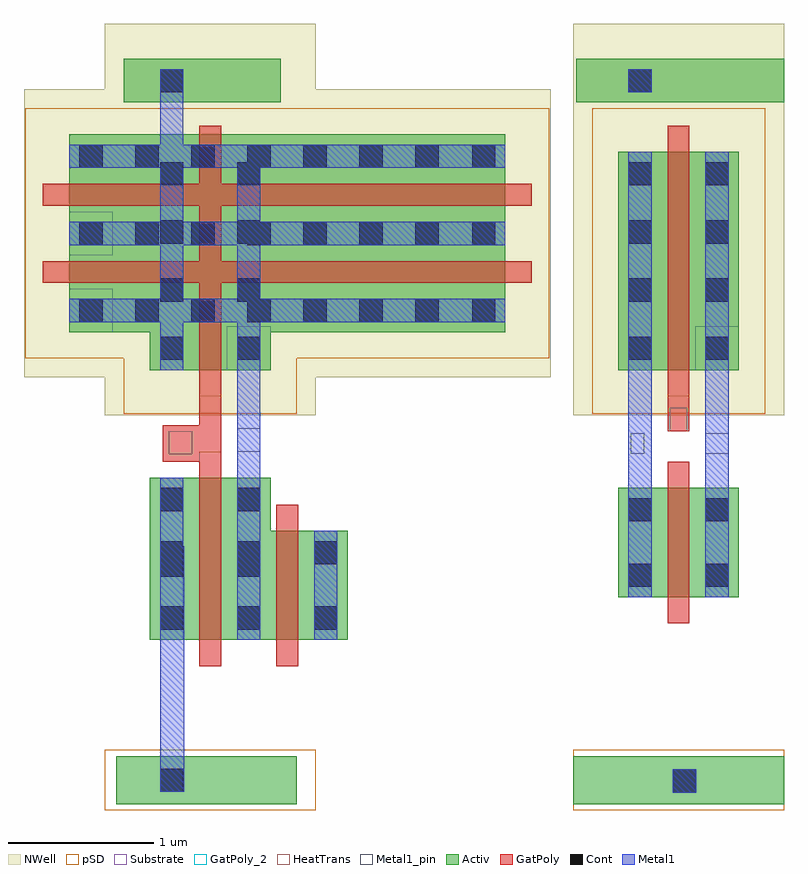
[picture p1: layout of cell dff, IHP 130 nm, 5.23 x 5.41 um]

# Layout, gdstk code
from math import pi, radians
import gdstk
lib = gdstk.Library(unit=1e-6, precision=5e-09)
def R(c, l, rs):  # rectangles x0, y0, x1, y1
    for r in rs: c.add(gdstk.rectangle(r[:2], r[2:], *l))
def A(c, l, x, y, w, h, nx, ny, dx, dy):  # array of equal rectangles
    R(c, l, [(x+i*dx, y+j*dy, x+i*dx+w, y+j*dy+h) for i in range(nx) for j in range(ny)])
Activ = (1, 0)
GatPoly = (5, 0)
GatPoly_2 = (5, 2)
Cont = (6, 0)
Metal1 = (8, 0)
Metal1_pin = (8, 2)
pSD = (14, 0)
NWell = (31, 0)
Substrate = (40, 0)
HeatTrans = (51, 0)

pmos_5_1 = lib.new_cell('pmos$5$1')
R(pmos_5_1, Activ, [(0,0,0.3,0.3), (0,0,0.83,3), (0.53,0,0.83,0.3)])
R(pmos_5_1, GatPoly, [(0.34,-0.18,0.49,3.18), (0.34,-0.18,0.49,3.18)])
A(pmos_5_1, Cont, 0.07, 0.07, 0.16, 0.16, 1, 7, 0, 0.385)
A(pmos_5_1, Cont, 0.6, 0.07, 0.16, 0.16, 1, 7, 0, 0.385)
R(pmos_5_1, Cont, [(0.07,2.77,0.23,2.93), (0.6,2.77,0.76,2.93)])
R(pmos_5_1, Metal1, [(0.07,0,0.23,3), (0.07,0,0.23,3), (0.6,0,0.76,3), (0.6,0,0.76,3)])
R(pmos_5_1, pSD, [(-0.18,-0.3,1.01,3.3)])
R(pmos_5_1, NWell, [(-0.31,-0.31,1.14,3.31)])
R(pmos_5_1, Substrate, [(0.53,0,0.83,0.3)])
R(pmos_5_1, HeatTrans, [(0.34,-0.18,0.49,3.18)])
pmos_5_1.add(gdstk.Label('pmos', (0.415,1.5), layer=63, texttype=0))
pmos_5_1.add(gdstk.Label('pmos', (0.415,1.5), layer=51, texttype=0))

nmos_5_2 = lib.new_cell('nmos$5$2')
R(nmos_5_2, Activ, [(0,0,0.3,0.3), (0,0,0.83,0.75), (0.53,0,0.83,0.3)])
R(nmos_5_2, GatPoly, [(0.34,-0.18,0.49,0.93)])
R(nmos_5_2, GatPoly_2, [(0.34,-0.18,0.49,0.93)])
R(nmos_5_2, Cont, [(0.07,0.07,0.23,0.23), (0.6,0.07,0.76,0.23), (0.07,0.52,0.23,0.68), (0.6,0.52,0.76,0.68)])
R(nmos_5_2, Metal1, [(0.07,0,0.23,0.75), (0.6,0,0.76,0.75)])
R(nmos_5_2, Metal1_pin, [(0.07,0,0.23,0.75), (0.6,0,0.76,0.75)])
R(nmos_5_2, HeatTrans, [(0.34,-0.18,0.49,0.93)])
nmos_5_2.add(gdstk.Label('nmos', (0.415,0.375), layer=63, texttype=0))
nmos_5_2.add(gdstk.Label('nmos', (0.415,0.375), layer=51, texttype=0))

nmos_5_1 = lib.new_cell('nmos$5$1')
R(nmos_5_1, Activ, [(0,0,0.3,0.3), (0,0,0.83,0.75), (0.53,0,0.83,0.3)])
R(nmos_5_1, GatPoly, [(0.34,-0.18,0.49,0.93)])
R(nmos_5_1, GatPoly_2, [(0.34,-0.18,0.49,0.93)])
R(nmos_5_1, Cont, [(0.07,0.07,0.23,0.23), (0.6,0.07,0.76,0.23), (0.07,0.52,0.23,0.68), (0.6,0.52,0.76,0.68)])
R(nmos_5_1, Metal1, [(0.07,0,0.23,0.75), (0.6,0,0.76,0.75)])
R(nmos_5_1, Metal1_pin, [(0.07,0,0.23,0.75), (0.6,0,0.76,0.75)])
R(nmos_5_1, HeatTrans, [(0.34,-0.18,0.49,0.93)])
nmos_5_1.add(gdstk.Label('nmos', (0.415,0.375), layer=63, texttype=0))
nmos_5_1.add(gdstk.Label('nmos', (0.415,0.375), layer=51, texttype=0))

pmos_5 = lib.new_cell('pmos$5')
R(pmos_5, Activ, [(0,0,0.3,0.3), (0,0,0.83,1.5), (0.53,0,0.83,0.3)])
R(pmos_5, GatPoly, [(0.34,-0.18,0.49,1.68), (0.34,-0.18,0.49,1.68)])
A(pmos_5, Cont, 0.07, 0.07, 0.16, 0.16, 1, 4, 0, 0.4)
A(pmos_5, Cont, 0.6, 0.07, 0.16, 0.16, 1, 4, 0, 0.4)
R(pmos_5, Metal1, [(0.07,0,0.23,1.5), (0.07,0,0.23,1.5), (0.6,0,0.76,1.5), (0.6,0,0.76,1.5)])
R(pmos_5, pSD, [(-0.18,-0.3,1.01,1.8)])
R(pmos_5, NWell, [(-0.31,-0.31,1.14,1.81)])
R(pmos_5, Substrate, [(0.53,0,0.83,0.3)])
R(pmos_5, HeatTrans, [(0.34,-0.18,0.49,1.68)])
pmos_5.add(gdstk.Label('pmos', (0.415,0.75), layer=63, texttype=0))
pmos_5.add(gdstk.Label('pmos', (0.415,0.75), layer=51, texttype=0))

transmissiongate = lib.new_cell('transmissiongate')
R(transmissiongate, Activ, [(2.295,-2.62,3.745,-2.29), (2.315,2.205,3.745,2.505)])
R(transmissiongate, GatPoly, [(2.945,-0.055,3.095,0.185)])
R(transmissiongate, GatPoly_2, [(2.98,-0.43,3.09,-0.27), (2.96,-0.055,3.08,0.105)])
R(transmissiongate, Cont, [(2.98,-2.54,3.14,-2.38), (2.675,2.275,2.835,2.435)])
R(transmissiongate, Metal1, [(2.98,-2.54,3.14,-2.38), (2.98,-2.54,3.14,-2.38), (2.675,-0.445,2.835,-0.21), (3.205,-0.445,3.365,-0.21), (2.675,-0.21,2.835,0.365), (3.205,-0.21,3.365,0.365), (2.675,2.275,2.835,2.435)])
R(transmissiongate, Metal1_pin, [(2.98,-2.54,3.14,-2.38), (2.69,-0.21,2.785,-0.07), (3.205,-0.21,3.365,-0.07), (2.675,2.275,2.835,2.435)])
R(transmissiongate, pSD, [(2.295,-2.66,3.745,-2.245)])
R(transmissiongate, NWell, [(2.295,2.175,3.745,2.745)])
transmissiongate.add(gdstk.Reference(nmos_5_1, (2.605,-1.195)))
transmissiongate.add(gdstk.Reference(pmos_5, (2.605,0.365)))
transmissiongate.add(gdstk.Label('vdd', (2.745,2.38), layer=8, texttype=2))
transmissiongate.add(gdstk.Label('vss', (3.055,-2.46), layer=8, texttype=2))
transmissiongate.add(gdstk.Label('out', (3.285,-0.14), layer=8, texttype=2))
transmissiongate.add(gdstk.Label('in', (2.73,-0.14), layer=8, texttype=2))
transmissiongate.add(gdstk.Label('en', (3.015,-0.355), layer=5, texttype=2))
transmissiongate.add(gdstk.Label('noten', (3.025,0.02), layer=5, texttype=2))

nmos_5 = lib.new_cell('nmos$5')
R(nmos_5, Activ, [(0,0,0.3,0.3), (0,0,0.83,0.75), (0.53,0,0.83,0.3)])
R(nmos_5, GatPoly, [(0.34,-0.18,0.49,0.93)])
R(nmos_5, GatPoly_2, [(0.34,-0.18,0.49,0.93)])
R(nmos_5, Cont, [(0.07,0.07,0.23,0.23), (0.6,0.07,0.76,0.23), (0.07,0.52,0.23,0.68), (0.6,0.52,0.76,0.68)])
R(nmos_5, Metal1, [(0.07,0,0.23,0.75), (0.6,0,0.76,0.75)])
R(nmos_5, Metal1_pin, [(0.07,0,0.23,0.75), (0.6,0,0.76,0.75)])
R(nmos_5, HeatTrans, [(0.34,-0.18,0.49,0.93)])
nmos_5.add(gdstk.Label('nmos', (0.415,0.375), layer=63, texttype=0))
nmos_5.add(gdstk.Label('nmos', (0.415,0.375), layer=51, texttype=0))

pmos = lib.new_cell('pmos')
R(pmos, Activ, [(0,0,0.3,0.3), (0,0,0.83,1.5), (0.53,0,0.83,0.3)])
R(pmos, GatPoly, [(0.34,-0.18,0.49,1.68), (0.34,-0.18,0.49,1.68)])
A(pmos, Cont, 0.07, 0.07, 0.16, 0.16, 1, 4, 0, 0.4)
A(pmos, Cont, 0.6, 0.07, 0.16, 0.16, 1, 4, 0, 0.4)
R(pmos, Metal1, [(0.07,0,0.23,1.5), (0.07,0,0.23,1.5), (0.6,0,0.76,1.5), (0.6,0,0.76,1.5)])
R(pmos, pSD, [(-0.18,-0.3,1.01,1.8)])
R(pmos, NWell, [(-0.31,-0.31,1.14,1.81)])
R(pmos, Substrate, [(0.53,0,0.83,0.3)])
R(pmos, HeatTrans, [(0.34,-0.18,0.49,1.68)])
pmos.add(gdstk.Label('pmos', (0.415,0.75), layer=63, texttype=0))
pmos.add(gdstk.Label('pmos', (0.415,0.75), layer=51, texttype=0))

inverter_4 = lib.new_cell('inverter$4')
R(inverter_4, Activ, [(-0.845,-2.62,0.395,-2.29), (-0.795,2.205,0.285,2.505)])
R(inverter_4, GatPoly, [(-0.525,-0.265,-0.275,-0.015), (-0.275,-0.195,-0.125,0.185)])
R(inverter_4, GatPoly_2, [(-0.485,-0.215,-0.325,-0.055)])
R(inverter_4, Cont, [(-0.545,-2.535,-0.385,-2.375), (-0.545,-2.535,-0.385,-2.375), (-0.545,2.275,-0.385,2.435)])
R(inverter_4, Metal1, [(-0.545,-2.535,-0.38,-0.845), (-0.015,-0.375,0.145,0.365), (-0.545,1.865,-0.385,2.435)])
R(inverter_4, Metal1_pin, [(-0.015,-0.195,0.145,-0.035)])
R(inverter_4, pSD, [(-0.925,-2.66,0.525,-2.245)])
R(inverter_4, NWell, [(-0.925,2.175,0.525,2.745)])
inverter_4.add(gdstk.Reference(nmos_5, (-0.615,-1.125)))
inverter_4.add(gdstk.Reference(pmos, (-0.615,0.365)))
inverter_4.add(gdstk.Label('vss', (-0.475,-2.43), layer=8, texttype=2))
inverter_4.add(gdstk.Label('vdd', (-0.465,2.355), layer=8, texttype=2))
inverter_4.add(gdstk.Label('out', (0.06,-0.09), layer=8, texttype=2))
inverter_4.add(gdstk.Label('in', (-0.45,-0.11), layer=5, texttype=2))

dff = lib.new_cell('dff')
dff.add(gdstk.Reference(pmos_5_1, (-1.17,1.455), rotation=3*pi/2))
dff.add(gdstk.Reference(pmos_5_1, (-1.17,1.985), rotation=3*pi/2))
dff.add(gdstk.Reference(nmos_5_2, (-0.615,-1.49)))
dff.add(gdstk.Reference(nmos_5_2, (0.745,-0.74), rotation=pi))
dff.add(gdstk.Reference(transmissiongate, (0,0)))
dff.add(gdstk.Reference(inverter_4, (0,0)))

lib.write_gds('dff.gds')
